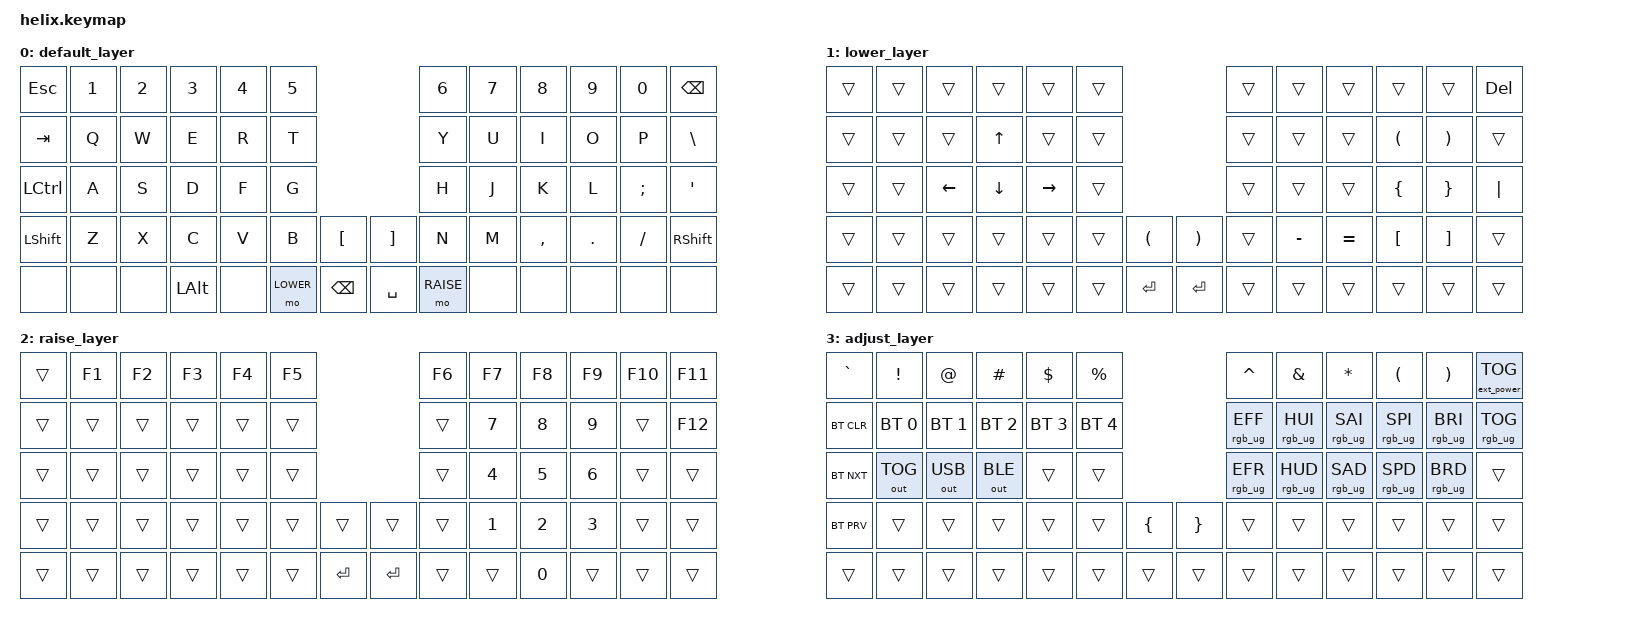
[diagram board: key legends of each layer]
/*
 * Copyright (c) 2020 The ZMK Contributors
 *
 * SPDX-License-Identifier: MIT
 */

 #include <behaviors.dtsi>
 #include <dt-bindings/zmk/keys.h>
 #include <dt-bindings/zmk/bt.h>
 #include <dt-bindings/zmk/rgb.h>
 #include <dt-bindings/zmk/ext_power.h>
 #include <dt-bindings/zmk/outputs.h>

 #define DEFAULT 0
 #define LOWER  1
 #define RAISE  2
 #define ADJUST 3

/* NOTE: At the time of the creation of this keymap, there are no specified codes for 'eisuu' and 'kana' input in ZMK.
However, 'LANG1' and 'LANG2' are fully-functioning candidates for 'kana' and 'eisuu' input respectively.
As such, those are in use within the default layer at this time.*/

/ {
       keymap {
              compatible = "zmk,keymap";
 
              default_layer {
 // ---------------------------------------------------------------------------------------------------------------------------------
 // |  ESC   |   1    |   2    |   3    |   4    |   5    |                                      |   6    |   7    |   8    |   9    |   0    |  BSPC  |
 // |  TAB   |   Q    |   W    |   E    |   R    |   T    |                                      |   Y    |   U    |   I    |   O    |   P    |  BSLH  |
 // |  CTRL  |   A    |   S    |   D    |   F    |   G    |                                      |   H    |   J    |   K    |   L    |   ;    |   SQT  |
 // |  SHIFT |   Z    |   X    |   C    |   V    |   B    |  LBKT  |                    |  RBKT  |   N    |   M    |   ,    |   .    |   /    |  RSHIFT|
 // | none   |  none  |  none  |  ALT   | faulty | LOWER  |  BSPC  |                    |  SPACE | RAISE  |  none  |  none  |  none  |  none  |  none  |
                     bindings = <
       &kp ESC    &kp N1  &kp N2   &kp N3   &kp N4    &kp N5                               &kp N6    &kp N7    &kp N8    &kp N9     &kp N0    &kp BSPC
       &kp TAB    &kp Q   &kp W    &kp E    &kp R     &kp T                                &kp Y     &kp U     &kp I     &kp O      &kp P     &kp BSLH
       &kp LCTRL  &kp A   &kp S    &kp D    &kp F     &kp G                                &kp H     &kp J     &kp K     &kp L      &kp SEMI  &kp SQT
       &kp LSHFT  &kp Z   &kp X    &kp C    &kp V     &kp B     &kp LBKT         &kp RBKT  &kp N     &kp M     &kp COMMA &kp PERIOD &kp SLASH &kp RSHIFT
       &none      &none   &none    &kp LALT &none     &mo LOWER &kp BSPC         &kp SPACE &mo RAISE &none     &none     &none      &none     &none
                     >;
              };
              lower_layer {
 // ---------------------------------------------------------------------------------------------------------------------------------
 // |      |      |      |      |      |      |                                  |      |      |      |      |      |  DEL |
 // |      |      |      |  UP  |      |      |                                  |      |      |      |  (   |  )   |      |
 // |      |      | LEFT | DOWN |RIGHT |      |                                  |      |      |      |  {   |  }   | PIPE |
 // |      |      |      |      |      |      |  (   |                    |  )   |      |  -   |equal+|  [   |  ]   |      |
 // |      |      |      |      |      |      |  RET |                    | RET  |      |      |      |      |      |      |
                     bindings = <
      &trans    &trans   &trans   &trans   &trans    &trans                             &trans    &trans    &trans    &trans   &trans   &kp DEL
      &trans    &trans   &trans   &kp UP   &trans    &trans                             &trans    &trans    &trans    &kp LPAR &kp RPAR &trans
      &trans    &trans   &kp LEFT &kp DOWN &kp RIGHT &trans                             &trans    &trans    &trans    &kp LBRC &kp RBRC &kp PIPE
      &trans    &trans   &trans   &trans   &trans    &trans    &kp LPAR        &kp RPAR &trans    &kp MINUS &kp EQUAL &kp LBKT &kp RBKT &trans
      &trans    &trans   &trans   &trans   &trans    &trans    &kp RET         &kp RET  &trans    &trans    &trans    &trans   &trans   &trans
                     >;
              };
              raise_layer {
 // ---------------------------------------------------------------------------------------------------------------------------------
 // |       |   f1  |  f2   |   f3  |  f4   |  f5   |                                    |   f6  |    f7  |   f8   |  f9    |  f10  |  f11  |
 // |       |       |       |       |       |       |                                    |       |    7   |   8    |   9    |       |  f12  |
 // |       |       |       |       |       |       |                                    |       |    4   |   5    |   6    |       |       |
 // |       |       |       |       |       |       |       |                    |       |       |    1   |   2    |   3    |       |       |
 // |       |       |       |       |       |       |  ret  |                    |  ret  |       |        |   0    |        |       |       |
                     bindings = <
       &trans    &kp F1 &kp F2 &kp F3 &kp F4  &kp F5                        &kp F6  &kp F7    &kp F8     &kp F9       &kp F10      &kp F11
       &trans    &trans &trans &trans &trans  &trans                        &trans  &kp N7    &kp N8     &kp N9       &trans       &kp F12
       &trans    &trans &trans &trans &trans  &trans                        &trans  &kp N4    &kp N5     &kp N6       &trans       &trans
       &trans    &trans &trans &trans &trans  &trans &trans         &trans  &trans  &kp N1    &kp N2     &kp N3       &trans       &trans
       &trans    &trans &trans &trans &trans  &trans &kp RET        &kp RET &trans  &trans    &kp N0     &trans       &trans       &trans
                     >;
              };
              adjust_layer {
 // ---------------------------------------------------------------------------------------------------------------------------------
 // |    `     |    !     |    @     |    #     |    $     |    %     |                                          |    ^     |    &     |    *     |    (     |    )     |  EP TOG  |
 // |  BT CLR  | BT SEL0  | BT SEL1  | BT SEL2  | BGT SEL3 | BT SEL4  |                                          | RGB EFF+ | RGB HUE+ | RGB SAT+ | RGB SPD+ | RGB BRI+ | RGB TOG  |
 // |  BT NXT  | OUT TOG  | OUT USB  | OUT BLE  |          |          |                                          | RGB EFF- | RGB HUE- | RGB SAT- | RGB SPD- | RGB BRI- |          |
 // |  BT PRV  |          |          |          |          |          |    {     |                    |    }     |          |          |          |          |          |          |
 // |          |          |          |          |          |          |          |                    |          |          |          |          |          |          |          |
                     bindings = <
       &kp GRAVE  &kp EXCL     &kp AT       &kp HASH     &kp DLLR     &kp PRCNT                             &kp CARET       &kp AMPS        &kp ASTRK       &kp LPAR        &kp RPAR        &ext_power EP_TOG
       &bt BT_CLR &bt BT_SEL 0 &bt BT_SEL 1 &bt BT_SEL 2 &bt BT_SEL 3 &bt BT_SEL 4                          &rgb_ug RGB_EFF &rgb_ug RGB_HUI &rgb_ug RGB_SAI &rgb_ug RGB_SPI &rgb_ug RGB_BRI &rgb_ug RGB_TOG 
       &bt BT_NXT &out OUT_TOG &out OUT_USB &out OUT_BLE &trans       &trans                                &rgb_ug RGB_EFR &rgb_ug RGB_HUD &rgb_ug RGB_SAD &rgb_ug RGB_SPD &rgb_ug RGB_BRD &trans
       &bt BT_PRV &trans       &trans       &trans       &trans       &trans       &kp LBRC        &kp RBRC &trans          &trans          &trans          &trans          &trans          &trans
       &trans     &trans       &trans       &trans       &trans       &trans       &trans          &trans   &trans          &trans          &trans          &trans          &trans          &trans
                     >;
              };
       };
};
